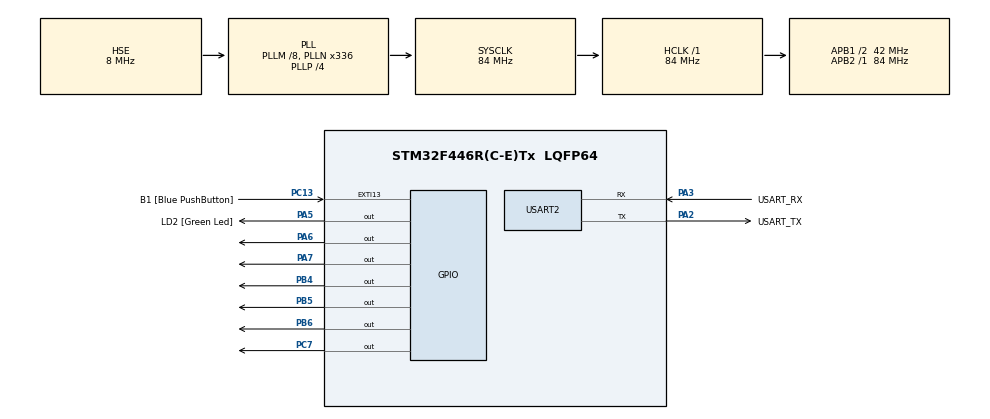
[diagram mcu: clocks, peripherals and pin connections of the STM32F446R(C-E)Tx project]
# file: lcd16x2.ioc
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Mcu.Family=STM32F4
Mcu.Name=STM32F446R(C-E)Tx
Mcu.Package=LQFP64
NVIC.PriorityGroup=NVIC_PRIORITYGROUP_0
PA13.GPIO_Label=TMS
PA13.Mode=Serial_Wire
PA13.Signal=SYS_JTMS-SWDIO
PA14.GPIO_Label=TCK
PA14.Mode=Serial_Wire
PA14.Signal=SYS_JTCK-SWCLK
PA2.GPIO_Label=USART_TX
PA2.Mode=Asynchronous
PA2.Signal=USART2_TX
PA3.GPIO_Label=USART_RX
PA3.Mode=Asynchronous
PA3.Signal=USART2_RX
PA5.GPIO_Label=LD2 [Green Led]
PA5.Signal=GPIO_Output
PA6.Signal=GPIO_Output
PA7.Signal=GPIO_Output
PB3.GPIO_Label=SWO
PB3.Signal=SYS_JTDO-SWO
PB4.Signal=GPIO_Output
PB5.Signal=GPIO_Output
PB6.Signal=GPIO_Output
PC13.GPIO_Label=B1 [Blue PushButton]
PC13.GPIO_ModeDefaultEXTI=GPIO_MODE_IT_FALLING
PC13.Signal=GPXTI13
PC14-OSC32_IN.Mode=LSE-External-Oscillator
PC14-OSC32_IN.Signal=RCC_OSC32_IN
PC15-OSC32_OUT.Mode=LSE-External-Oscillator
PC15-OSC32_OUT.Signal=RCC_OSC32_OUT
PC7.Signal=GPIO_Output
PH0-OSC_IN.Mode=HSE-External-Oscillator
PH0-OSC_IN.Signal=RCC_OSC_IN
PH1-OSC_OUT.Mode=HSE-External-Oscillator
PH1-OSC_OUT.Signal=RCC_OSC_OUT
ProjectManager.HeapSize=0x800
ProjectManager.StackSize=0x800
ProjectManager.TargetToolchain=STM32CubeIDE
RCC.48MHZClocksFreq_Value=84000000
RCC.AHBFreq_Value=84000000
RCC.APB1CLKDivider=RCC_HCLK_DIV2
RCC.APB1Freq_Value=42000000
RCC.APB1TimFreq_Value=84000000
RCC.APB2Freq_Value=84000000
RCC.APB2TimFreq_Value=84000000
RCC.CortexFreq_Value=84000000
RCC.FLatency-AdvancedSettings=FLASH_LATENCY_2
RCC.HCLKFreq_Value=84000000
RCC.HSE_VALUE=8000000
RCC.HSI_VALUE=16000000
RCC.PLLM=8
RCC.PLLN=336
RCC.PLLP=RCC_PLLP_DIV4
RCC.PLLSourceVirtual=RCC_PLLSOURCE_HSE
RCC.SYSCLKFreq_VALUE=84000000
RCC.SYSCLKSource=RCC_SYSCLKSOURCE_PLLCLK
RCC.USBFreq_Value=168000000
RCC.VCOOutputFreq_Value=336000000
STMicroelectronics.X-CUBE-AI.7.0.0.ActivationBufferSizeList=48788
STMicroelectronics.X-CUBE-AI.7.0.0.HeapSize=0x800
STMicroelectronics.X-CUBE-AI.7.0.0.InternalRamActivationBufferMaxSize=AI_NETWORK_DATA_ACTIVATIONS_SIZE
STMicroelectronics.X-CUBE-AI.7.0.0.LatestDirectoryUsed-9a9450279da54e830ecc4f57dc68726d1d9a625f9308e9a8c25999b0680a70aa=C\:\\Users\\asyikin\\Desktop\\STM32 Project
STMicroelectronics.X-CUBE-AI.7.0.0.MaximumNumberOfInputLayer=1
STMicroelectronics.X-CUBE-AI.7.0.0.MaximumNumberOfOutputLayer=1
STMicroelectronics.X-CUBE-AI.7.0.0.MaximumSizeOfInputLayer=AI_NETWORK_IN_1_SIZE_BYTES
STMicroelectronics.X-CUBE-AI.7.0.0.MaximumSizeOfOutputLayer=AI_NETWORK_OUT_1_SIZE_BYTES
STMicroelectronics.X-CUBE-AI.7.0.0.ModelActualCompression-9a9450279da54e830ecc4f57dc68726d1d9a625f9308e9a8c25999b0680a70aa=0.0
STMicroelectronics.X-CUBE-AI.7.0.0.ModelCompression-9a9450279da54e830ecc4f57dc68726d1d9a625f9308e9a8c25999b0680a70aa=1
STMicroelectronics.X-CUBE-AI.7.0.0.ModelFlashOccupation-9a9450279da54e830ecc4f57dc68726d1d9a625f9308e9a8c25999b0680a70aa=146196
STMicroelectronics.X-CUBE-AI.7.0.0.ModelHashList=9a9450279da54e830ecc4f57dc68726d1d9a625f9308e9a8c25999b0680a70aa
STMicroelectronics.X-CUBE-AI.7.0.0.ModelKind-9a9450279da54e830ecc4f57dc68726d1d9a625f9308e9a8c25999b0680a70aa=TFLITE
STMicroelectronics.X-CUBE-AI.7.0.0.ModelMacc-9a9450279da54e830ecc4f57dc68726d1d9a625f9308e9a8c25999b0680a70aa=2568581
STMicroelectronics.X-CUBE-AI.7.0.0.ModelName-9a9450279da54e830ecc4f57dc68726d1d9a625f9308e9a8c25999b0680a70aa=network
STMicroelectronics.X-CUBE-AI.7.0.0.ModelNameList=network
STMicroelectronics.X-CUBE-AI.7.0.0.ModelRamOccupation-9a9450279da54e830ecc4f57dc68726d1d9a625f9308e9a8c25999b0680a70aa=48788
STMicroelectronics.X-CUBE-AI.7.0.0.ModelStructureFile-9a9450279da54e830ecc4f57dc68726d1d9a625f9308e9a8c25999b0680a70aa=C\:\\Users\\asyikin\\Desktop\\STM32 Project\\face_recognition.tflite
STMicroelectronics.X-CUBE-AI.7.0.0.ModelType-9a9450279da54e830ecc4f57dc68726d1d9a625f9308e9a8c25999b0680a70aa=STM32Cube.AI runtime
STMicroelectronics.X-CUBE-AI.7.0.0.ReadyForCodeGeneration=true
STMicroelectronics.X-CUBE-AI.7.0.0.StackSize=0x800
STMicroelectronics.X-CUBE-AI.7.0.0.WorkingBufferStartAddrList=0xFFFFFFFF
STMicroelectronics.X-CUBE-AI.7.0.0.XAaCUBEAaAICcArtificialOoIntelligenceJjCore=true
USART2.VirtualMode=VM_ASYNC
VP_CRC_VS_CRC.Mode=CRC_Activate
VP_STMicroelectronics.X-CUBE-AI_VS_ArtificialOoIntelligenceJjXAaCUBEAaAI_7.0.0.Mode=ArtificialOoIntelligenceJjXAaCUBEAaAI
board=NUCLEO-F446RE

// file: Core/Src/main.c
/* USER CODE BEGIN Header */
/**
  ******************************************************************************
  * @file           : main.c
  * @brief          : Main program body
  ******************************************************************************
  * @attention
  *
  * Copyright (c) 2022 STMicroelectronics.
  * All rights reserved.
  *
  * This software is licensed under terms that can be found in the LICENSE file
  * in the root directory of this software component.
  * If no LICENSE file comes with this software, it is provided AS-IS.
  *
  ******************************************************************************
  */
/* USER CODE END Header */
#include "main.h"

/* USER CODE BEGIN Includes */
#include "lcd.h"
#include "stdio.h"
#include "stdint.h"
#include "ai_datatypes_defines.h"
#include "ai_platform.h"
#include "network.h"
#include "network_data.h"
/* USER CODE END Includes */

 CRC_HandleTypeDef hcrc;

UART_HandleTypeDef huart2;

void SystemClock_Config(void);
static void MX_GPIO_Init(void);
static void MX_USART2_UART_Init(void);
static void MX_CRC_Init(void);

int main(void)
{
  /* USER CODE BEGIN 1 */
	ai_error ai_err; //error code
		  ai_i32 nbatch;
		  char y_val;  //output

		  AI_ALIGNED(4)
		  static ai_u8 activations[AI_NETWORK_DATA_ACTIVATIONS_SIZE];

		  AI_ALIGNED(4)
		  static ai_i8 in_data[AI_NETWORK_IN_1_SIZE_BYTES];

		  AI_ALIGNED(4)
		  static ai_i8 out_data[AI_NETWORK_OUT_1_SIZE_BYTES];

		  //pointer to our model
		  static ai_handle network = AI_HANDLE_NULL ;
		  static ai_buffer ai_input[AI_NETWORK_IN_NUM] = AI_NETWORK_IN ;
		  static ai_buffer ai_output[AI_NETWORK_OUT_NUM] = AI_NETWORK_OUT ;
		  const char* tsflow_label[] = {"Admars", "Ahodki", "Ajones", "Asheal", "Chris"};

		  const ai_network_params params = {
		          AI_NETWORK_PARAMS_INIT(AI_NETWORK_DATA_WEIGHTS(ai_network_data_weights_get()),
		          AI_NETWORK_DATA_ACTIVATIONS(activations))
		    };

		    ai_input[0].n_batches = 1;
		    ai_input[0].data = AI_HANDLE_PTR(in_data);
		    ai_output[0].n_batches = 1;
		    ai_output[0].data = AI_HANDLE_PTR(out_data);
	  //sallehos
  /* USER CODE END 1 */

  /* MCU Configuration--------------------------------------------------------*/

  /* Reset of all peripherals, Initializes the Flash interface and the Systick. */
  HAL_Init();

  /* Configure the system clock */
  SystemClock_Config();

  /* Initialize all configured peripherals */
  MX_GPIO_Init();
  MX_USART2_UART_Init();

  Lcd_PortType ports[] = { GPIOC, GPIOB, GPIOA, GPIOA };
    // Lcd_PinType pins[] = {D4_Pin, D5_Pin, D6_Pin, D7_Pin};
    Lcd_PinType pins[] = {GPIO_PIN_7, GPIO_PIN_6, GPIO_PIN_7, GPIO_PIN_6};
    Lcd_HandleTypeDef lcd;
    // Lcd_create(ports, pins, RS_GPIO_Port, RS_Pin, EN_GPIO_Port, EN_Pin, LCD_4_BIT_MODE);
    lcd = Lcd_create(ports, pins, GPIOB, GPIO_PIN_5, GPIOB, GPIO_PIN_4, LCD_4_BIT_MODE);
    Lcd_cursor(&lcd, 0,1);
    //Lcd_string(&lcd, str1 );
      for ( int x = 1; x <= 200 ; x++ )
      {
        Lcd_cursor(&lcd, 1,7);
        Lcd_int(&lcd, x);
        HAL_Delay (1000);
      }

 //sallehos
  ai_err = ai_network_create(&network, AI_NETWORK_DATA_CONFIG);
   if (ai_err.type != AI_ERROR_NONE)
   {
 	  printf("\n\r-I- Error could not create neural network instance\r\n");
 	  Lcd_string(&lcd,"Error could not create neural network instance");

   }
   else {
 	  printf("\n\r-I-: Neural network instance is created\r\n");
 	  Lcd_string(&lcd,"Neural network instance is created");

   }

 //To run the AI
  int aiRun(const void *in_data, void *out_data)
  {
    HAL_GPIO_TogglePin(GPIOA, GPIO_PIN_5);

    nbatch = ai_network_run(network, &ai_input[0], &ai_output[0]);
        if (nbatch != 1){
      	  printf("Error: could not run inference\n");
        }

    y_val = ((char*)out_data);
    printf ("\n\Prediction class: %s", y_val);
    HAL_Delay(100);  //adding delay
  }

  //sallehos
  aiRun(in_data,out_data);

  /* USER CODE END 2 */

  /* Infinite loop */
  while (1)
  {

  }
}

void SystemClock_Config(void)
{
  RCC_OscInitTypeDef RCC_OscInitStruct = {0};
  RCC_ClkInitTypeDef RCC_ClkInitStruct = {0};

  /** Configure the main internal regulator output voltage
  */
  __HAL_RCC_PWR_CLK_ENABLE();
  __HAL_PWR_VOLTAGESCALING_CONFIG(PWR_REGULATOR_VOLTAGE_SCALE3);

  /** Initializes the RCC Oscillators according to the specified parameters
  * in the RCC_OscInitTypeDef structure.
  */
  RCC_OscInitStruct.OscillatorType = RCC_OSCILLATORTYPE_HSE;
  RCC_OscInitStruct.HSEState = RCC_HSE_ON;
  RCC_OscInitStruct.PLL.PLLState = RCC_PLL_ON;
  RCC_OscInitStruct.PLL.PLLSource = RCC_PLLSOURCE_HSE;
  RCC_OscInitStruct.PLL.PLLM = 8;
  RCC_OscInitStruct.PLL.PLLN = 336;
  RCC_OscInitStruct.PLL.PLLP = RCC_PLLP_DIV4;
  RCC_OscInitStruct.PLL.PLLQ = 2;
  RCC_OscInitStruct.PLL.PLLR = 2;
  if (HAL_RCC_OscConfig(&RCC_OscInitStruct) != HAL_OK)
  {
    Error_Handler();
  }

  /** Initializes the CPU, AHB and APB buses clocks
  */
  RCC_ClkInitStruct.ClockType = RCC_CLOCKTYPE_HCLK|RCC_CLOCKTYPE_SYSCLK
                              |RCC_CLOCKTYPE_PCLK1|RCC_CLOCKTYPE_PCLK2;
  RCC_ClkInitStruct.SYSCLKSource = RCC_SYSCLKSOURCE_PLLCLK;
  RCC_ClkInitStruct.AHBCLKDivider = RCC_SYSCLK_DIV1;
  RCC_ClkInitStruct.APB1CLKDivider = RCC_HCLK_DIV2;
  RCC_ClkInitStruct.APB2CLKDivider = RCC_HCLK_DIV1;

  if (HAL_RCC_ClockConfig(&RCC_ClkInitStruct, FLASH_LATENCY_2) != HAL_OK)
  {
    Error_Handler();
  }
}

static void MX_CRC_Init(void)
{

  hcrc.Instance = CRC;
  if (HAL_CRC_Init(&hcrc) != HAL_OK)
  {
    Error_Handler();
  }

}

static void MX_USART2_UART_Init(void)
{

  huart2.Instance = USART2;
  huart2.Init.BaudRate = 115200;
  huart2.Init.WordLength = UART_WORDLENGTH_8B;
  huart2.Init.StopBits = UART_STOPBITS_1;
  huart2.Init.Parity = UART_PARITY_NONE;
  huart2.Init.Mode = UART_MODE_TX_RX;
  huart2.Init.HwFlowCtl = UART_HWCONTROL_NONE;
  huart2.Init.OverSampling = UART_OVERSAMPLING_16;
  if (HAL_UART_Init(&huart2) != HAL_OK)
  {
    Error_Handler();
  }

}

static void MX_GPIO_Init(void)
{
  GPIO_InitTypeDef GPIO_InitStruct = {0};

  /* GPIO Ports Clock Enable */
  __HAL_RCC_GPIOC_CLK_ENABLE();
  __HAL_RCC_GPIOH_CLK_ENABLE();
  __HAL_RCC_GPIOA_CLK_ENABLE();
  __HAL_RCC_GPIOB_CLK_ENABLE();

  /*Configure GPIO pin Output Level */
  HAL_GPIO_WritePin(GPIOA, LD2_Pin|GPIO_PIN_6|GPIO_PIN_7, GPIO_PIN_RESET);

  /*Configure GPIO pin Output Level */
  HAL_GPIO_WritePin(GPIOC, GPIO_PIN_7, GPIO_PIN_RESET);

  /*Configure GPIO pin Output Level */
  HAL_GPIO_WritePin(GPIOB, GPIO_PIN_4|GPIO_PIN_5|GPIO_PIN_6, GPIO_PIN_RESET);

  /*Configure GPIO pin : B1_Pin */
  GPIO_InitStruct.Pin = B1_Pin;
  GPIO_InitStruct.Mode = GPIO_MODE_IT_FALLING;
  GPIO_InitStruct.Pull = GPIO_NOPULL;
  HAL_GPIO_Init(B1_GPIO_Port, &GPIO_InitStruct);

  /*Configure GPIO pins : LD2_Pin PA6 PA7 */
  GPIO_InitStruct.Pin = LD2_Pin|GPIO_PIN_6|GPIO_PIN_7;
  GPIO_InitStruct.Mode = GPIO_MODE_OUTPUT_PP;
  GPIO_InitStruct.Pull = GPIO_NOPULL;
  GPIO_InitStruct.Speed = GPIO_SPEED_FREQ_LOW;
  HAL_GPIO_Init(GPIOA, &GPIO_InitStruct);

  /*Configure GPIO pin : PC7 */
  GPIO_InitStruct.Pin = GPIO_PIN_7;
  GPIO_InitStruct.Mode = GPIO_MODE_OUTPUT_PP;
  GPIO_InitStruct.Pull = GPIO_NOPULL;
  GPIO_InitStruct.Speed = GPIO_SPEED_FREQ_LOW;
  HAL_GPIO_Init(GPIOC, &GPIO_InitStruct);

  /*Configure GPIO pins : PB4 PB5 PB6 */
  GPIO_InitStruct.Pin = GPIO_PIN_4|GPIO_PIN_5|GPIO_PIN_6;
  GPIO_InitStruct.Mode = GPIO_MODE_OUTPUT_PP;
  GPIO_InitStruct.Pull = GPIO_NOPULL;
  GPIO_InitStruct.Speed = GPIO_SPEED_FREQ_LOW;
  HAL_GPIO_Init(GPIOB, &GPIO_InitStruct);

}

void Error_Handler(void)
{
  __disable_irq();
  while (1)
  {
  }
}
